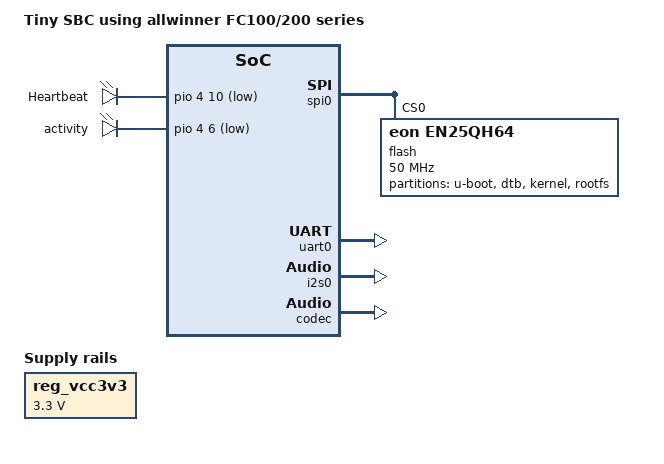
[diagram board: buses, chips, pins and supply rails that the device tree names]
// SPDX-License-Identifier: (GPL-2.0+ OR X11)
/*
 * Copyright 2019 George Hilliard <thirtythreeforty@gmail.com>
 */

/dts-v1/;
#include "suniv-f1c100s.dtsi"

#include <dt-bindings/gpio/gpio.h>
#include <dt-bindings/interrupt-controller/arm-gic.h>

/ {
	model = "Tiny SBC using allwinner FC100/200 series";
	compatible = "licheepi,licheepi-nano", "allwinner,suniv-f1c100s",
		     "allwinner,suniv";

	aliases {
		serial0 = &uart0;
		spi0 = &spi0;
	};

	chosen {
		stdout-path = "serial0:115200n8";
	};

	reg_vcc3v3: vcc3v3 {
		compatible = "regulator-fixed";
		regulator-name = "vcc3v3";
		regulator-min-microvolt = <3300000>;
		regulator-max-microvolt = <3300000>;
	};

	leds {
		compatible = "gpio-leds";
		// pinctrl-names = "default";
		// pinctrl-0 = <&led_pins>;

		heartbeat {
			label = "Heartbeat";
			gpios = <&pio 4 10 GPIO_ACTIVE_LOW>;	// PE10
			default-state = "on";
			linux,default-trigger = "heartbeat";
		};

		activity {
			label = "activity";
			gpios = <&pio 4 6 GPIO_ACTIVE_LOW>;	// PE6
			default-state = "on";
			linux,default-trigger = "activity";
		};
	};

	pcm5102a: pcm5102a {
		#sound-dai-cells = <0>;
		compatible = "ti,pcm5102a";
		status = "okay";
	};
/*
	max98357a: max98357a {
		#sound-dai-cells = <0>;
		compatible = "maxim,max98357a";
		status = "okay";
	};

	dummy_codec: dummy_codec {
		compatible = "asoc,snd-soc-dummy";
		#sound-dai-cells = <0>;
		status = "okay";
	};
*/

	sound {
		compatible = "simple-audio-card";
		simple-audio-card,name = "PCM5102A I2S Master";
		simple-audio-card,format = "i2s";
		simple-audio-card,bitclock-master = <&cpu_dai_master>;
		simple-audio-card,frame-master = <&cpu_dai_master>;
		simple-audio-card,mclk-fs = <256>;
		//simple-audio-card,widgets = "Speaker", "External Speaker";
 
		cpu_dai_master: simple-audio-card,cpu {
			sound-dai = <&i2s0>;
		};

		dailink0_master: simple-audio-card,codec {
			sound-dai = <&pcm5102a>;
		};
	};
	
};


&spi0 {
    pinctrl-names = "default";
    pinctrl-0 = <&spi0_pins_a>;
    status = "okay";


	flash: en25qh64@0 {
        #address-cells = <1>;
        #size-cells = <1>;
        compatible =  "eon,en25qh64", "jedec,spi-nor";
        reg = <0>;
        spi-max-frequency = <50000000>;
        partitions {
			compatible = "fixed-partitions";
			#address-cells = <1>;
			#size-cells = <1>;

			partition@0 {
				label = "u-boot";
				reg = <0x000000 0x100000>;
				read-only;
			};

			partition@100000 {
				label = "dtb";
				reg = <0x100000 0x10000>;
				read-only;
			};

			partition@110000 {
				label = "kernel";
				reg = <0x110000 0x360000>;
				read-only;
			};

			partition@510000 {
				label = "rootfs";
				reg = <0x470000 0x390000>;
			};
		};
    };
};


&mmc0 {

	status = "disabled";
};

&otg_sram {
	status = "disabled";
};

&uart0 {
	pinctrl-names = "default";
	pinctrl-0 = <&uart0_pe_pins>;
	status = "okay";
};

&usb_otg {
	dr_mode = "peripheral";
	status = "disabled";
};

&usbphy {
	usb0_id_det = <&pio 4 2 GPIO_ACTIVE_HIGH>; /* PE2 */
	status = "disabled";
};

&cir {
	//pinctrl-names = "default";
	//pinctrl-0 = <&ir_pin>;
	status = "disabled";
};

&i2c2 {
	//pinctrl-names = "default";
	//pinctrl-0 = <&i2c2_pd_pins>;
	status = "disabled";
};

&i2s0 {
	status = "okay";
};


&codec {
	allwinner,audio-routing =
		"Headphone", "HP",
		"Headphone", "HPCOM",
		"LINEIN", "Line In",
		"FMINL", "Left FM In",
		"FMINR", "Right FM In",
		"MIC", "Mic";
	status = "okay";
};
